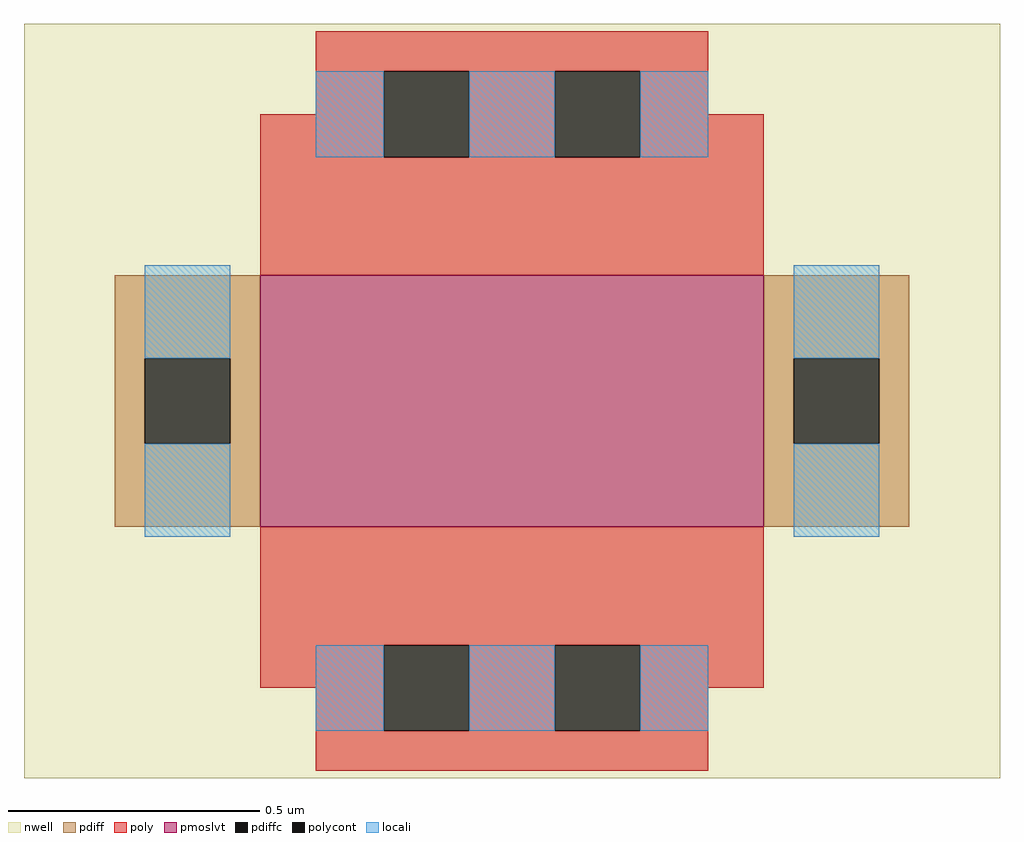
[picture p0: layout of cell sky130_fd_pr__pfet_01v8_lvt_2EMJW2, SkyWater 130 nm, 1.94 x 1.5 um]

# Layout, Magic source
magic
tech sky130A
magscale 1 2
<< nwell >>
rect -194 -150 194 150
<< pmoslvt >>
rect -100 -50 100 50
<< pdiff >>
rect -158 17 -100 50
rect -158 -17 -146 17
rect -112 -17 -100 17
rect -158 -50 -100 -17
rect 100 17 158 50
rect 100 -17 112 17
rect 146 -17 158 17
rect 100 -50 158 -17
<< pdiffc >>
rect -146 -17 -112 17
rect 112 -17 146 17
<< poly >>
rect -78 131 78 147
rect -78 114 -51 131
rect -100 97 -51 114
rect -17 97 17 131
rect 51 114 78 131
rect 51 97 100 114
rect -100 50 100 97
rect -100 -97 100 -50
rect -100 -114 -51 -97
rect -78 -131 -51 -114
rect -17 -131 17 -97
rect 51 -114 100 -97
rect 51 -131 78 -114
rect -78 -147 78 -131
<< polycont >>
rect -51 97 -17 131
rect 17 97 51 131
rect -51 -131 -17 -97
rect 17 -131 51 -97
<< locali >>
rect -78 97 -51 131
rect -17 97 17 131
rect 51 97 78 131
rect -146 17 -112 54
rect -146 -54 -112 -17
rect 112 17 146 54
rect 112 -54 146 -17
rect -78 -131 -51 -97
rect -17 -131 17 -97
rect 51 -131 78 -97
<< end >>
